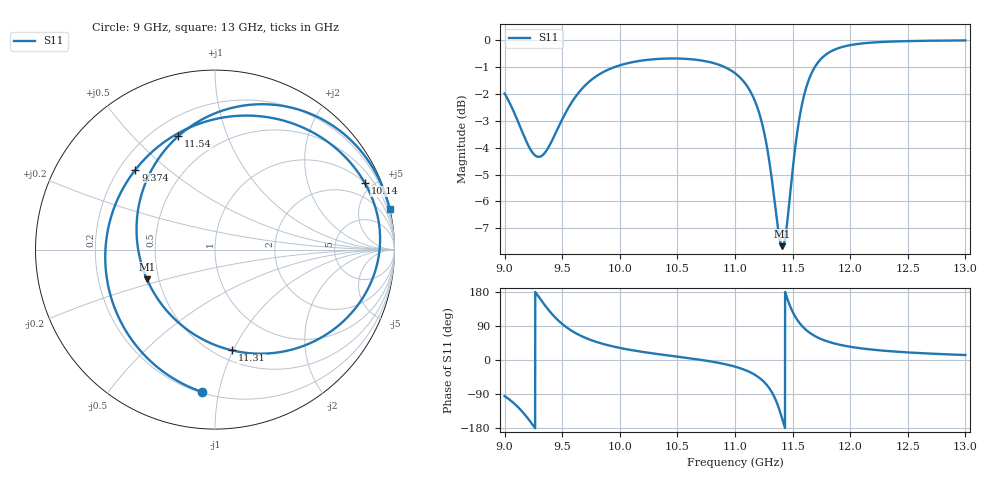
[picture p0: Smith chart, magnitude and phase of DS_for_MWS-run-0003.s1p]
! TOUCHSTONE file generated by CST DESIGN STUDIO
! Date and time: Tue Feb  4 14:21:39 2025
! Project name: C:\Work\MatlabApps\UnitCellOptimizationMatlab\CST\unitcell.cst
! Tree item: Tasks\Sweep1\SPara1\S-Parameters
! Header version: 2024
! Port assignment regex: !\s*Touchstone port\s*([0-9]+)\s*=\s*(CST MWS port|CST DES external port|CST DES block port)\s*(.+)\s* \(\"(.*)\"\)(\s*mode\s*([0-9]+))?.*
! Touchstone port assignment:
! Touchstone port 1 = CST DES external port 1 ("")
# GHz S MA R 50
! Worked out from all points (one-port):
!   4001 points, 9 GHz to 13 GHz, reference 50 ohm
!   lowest |S11| = -7.7 dB at 11.41 GHz (marker M1), VSWR 2.41, Z = 21.5 - j8.64 ohm
!   |S11| at or under -10 dB: nowhere
!   S11 on the Smith chart (normalised r, x): 9 GHz: 0.21, -0.89; 9.374 GHz: 0.27, +0.39; 10.14 GHz: 1.00, +4.49; 11.31 GHz: 0.60, -0.99; 11.54 GHz: 0.30, +0.68; 13 GHz: 0.02, +8.70
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9  0.7961 -95.2
9.108  0.7128 -121.9
9.218  0.6296 -160.4
9.293  0.6066 168.0
9.374  0.6283 134.9
9.436  0.6669 113.3
9.5  0.7124 95.1
9.595  0.7736 74.7
9.724  0.8338 55.6
10  0.8983 31.9
10.143  0.9134 24.0
10.5  0.9249 8.8
10.796  0.9091 -4.1
11  0.8686 -17.5
11.177  0.7671 -39.9
11.245  0.6857 -55.8
11.311  0.569 -80.5
11.361  0.4675 -111.0
11.411  0.4136 -156.3
11.454  0.4597 161.7
11.5  0.5726 127.3
11.536  0.6644 107.9
11.614  0.8109 80.2
11.731  0.9155 57.4
11.847  0.9571 44.9
12  0.9796 34.9
12.5  0.9966 20.0
13  0.9994 13.1
